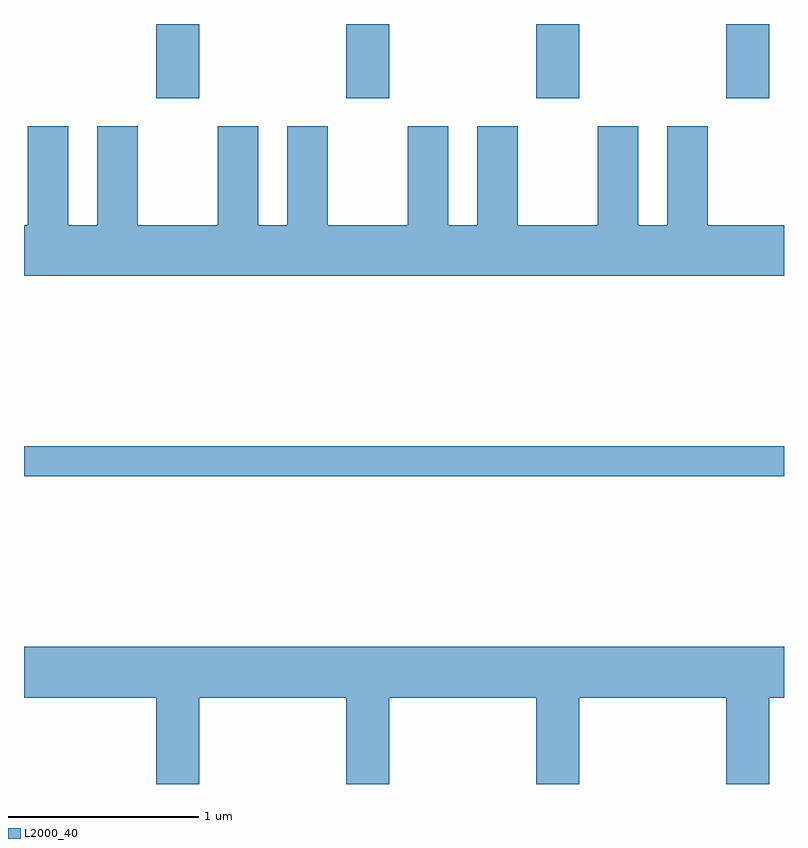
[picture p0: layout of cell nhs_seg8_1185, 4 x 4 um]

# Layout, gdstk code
import gdstk
lib = gdstk.Library(unit=1e-6, precision=1e-09)
def R(c, l, rs):  # rectangles x0, y0, x1, y1
    for r in rs: c.add(gdstk.rectangle(r[:2], r[2:], *l))
def A(c, l, x, y, w, h, nx, ny, dx, dy):  # array of equal rectangles
    R(c, l, [(x+i*dx, y+j*dy, x+i*dx+w, y+j*dy+h) for i in range(nx) for j in range(ny)])
def P(c, l, *ps):  # polygons
    for p in ps: c.add(gdstk.Polygon(p, *l))
L2000_40 = (2000, 40)

nhs_seg8_1185 = lib.new_cell('nhs_seg8_1185')
A(nhs_seg8_1185, L2000_40, 220.306, 1903.951, 0.228, 0.391, 4, 1, 1, 0)
R(nhs_seg8_1185, L2000_40, [(219.611,1901.961,223.611,1902.119)])
P(nhs_seg8_1185, L2000_40, [(223.611,1903.284),(223.209,1903.284),(223.209,1903.804),(222.996,1903.804),(222.996,1903.284),(222.844,1903.284),(222.844,1903.804),(222.631,1903.804),(222.631,1903.284),(222.209,1903.284),(222.209,1903.804),(221.996,1903.804),(221.996,1903.284),(221.844,1903.284),(221.844,1903.804),(221.631,1903.804),(221.631,1903.284),(221.209,1903.284),(221.209,1903.804),(220.996,1903.804),(220.996,1903.284),(220.844,1903.284),(220.844,1903.804),(220.631,1903.804),(220.631,1903.284),(220.209,1903.284),(220.209,1903.804),(219.996,1903.804),(219.996,1903.284),(219.844,1903.284),(219.844,1903.804),(219.631,1903.804),(219.631,1903.284),(219.611,1903.284),(219.611,1903.016),(223.611,1903.016)],
  [(220.534,1900.796),(221.306,1900.796),(221.306,1900.342),(221.534,1900.342),(221.534,1900.796),(222.306,1900.796),(222.306,1900.342),(222.534,1900.342),(222.534,1900.796),(223.306,1900.796),(223.306,1900.342),(223.534,1900.342),(223.534,1900.796),(223.611,1900.796),(223.611,1901.064),(219.611,1901.064),(219.611,1900.796),(220.306,1900.796),(220.306,1900.342),(220.534,1900.342)])

lib.write_gds('nhs_seg8_1185.gds')
